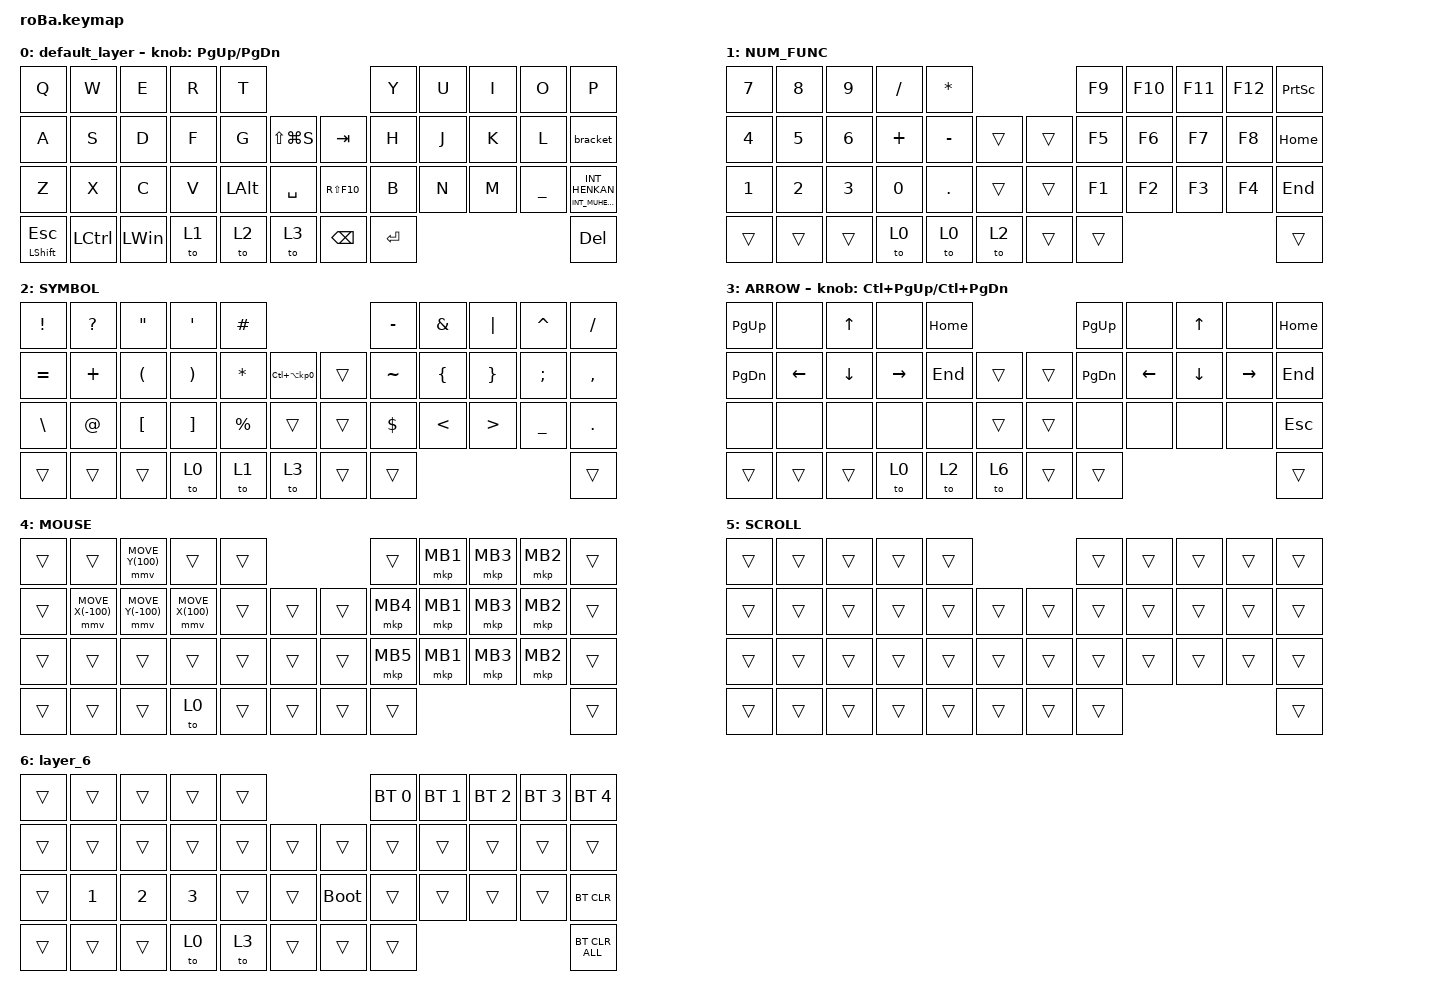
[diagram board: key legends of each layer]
#include <behaviors.dtsi>
#include <dt-bindings/zmk/bt.h>
#include <dt-bindings/zmk/keys.h>
#include <dt-bindings/zmk/pointing.h>

#define MOUSE 4
#define SCROLL 5
#define NUM 6

&mt {
    flavor = "balanced";
    quick-tap-ms = <0>;
};

/ {
    combos {
        compatible = "zmk,combos";

        tab {
            bindings = <&kp TAB>;
            key-positions = <11 12>;
        };

        shift_tab {
            bindings = <&kp LS(TAB)>;
            key-positions = <12 13>;
        };

        muhennkann {
            bindings = <&to_layer_0 INT_MUHENKAN>;
            key-positions = <11 10>;
        };

        double_quotation {
            bindings = <&kp DOUBLE_QUOTES>;
            key-positions = <20 21>;
        };

        eq {
            bindings = <&kp EQUAL>;
            key-positions = <24 25>;
        };
    };

    macros {
        to_layer_0: to_layer_0 {
            compatible = "zmk,behavior-macro-one-param";
            #binding-cells = <1>;
            bindings = <&to 0 &macro_param_1to1 &kp MACRO_PLACEHOLDER>;
            label = "TO_LAYER_0";
        };

        bracket: bracket {
            compatible = "zmk,behavior-macro";
            #binding-cells = <0>;
            bindings = <&kp LEFT_PARENTHESIS &kp RIGHT_PARENTHESIS &kp ENTER &kp LEFT_ARROW>;
            label = "BRACKET";
        };
    };

    behaviors {
        lt_to_layer_0: lt_to_layer_0 {
            compatible = "zmk,behavior-hold-tap";
            label = "LAYER_TAP_TO_0";
            bindings = <&mo>, <&to_layer_0>;

            #binding-cells = <2>;
            tapping-term-ms = <200>;
        };

        tk: tk {
            compatible = "zmk,behavior-hold-tap";
            label = "TK";
            bindings = <&to>, <&kp>;

            #binding-cells = <2>;
            tapping-term-ms = <200>;
        };
    };

    keymap {
        compatible = "zmk,keymap";

        default_layer {
            bindings = <
&kp Q               &kp W      &kp E         &kp R  &kp T                                           &kp Y      &kp U  &kp I  &kp O           &kp P
&kp A               &kp S      &kp D         &kp F  &kp G         &kp LS(LG(S))      &kp TAB        &kp H      &kp J  &kp K  &kp L           &bracket
&kp Z               &kp X      &kp C         &kp V  &kp LEFT_ALT  &kp SPACE          &kp RS(F10)    &kp B      &kp N  &kp M  &kp UNDERSCORE  &mt INT_MUHENKAN INT_HENKAN
&mt LEFT_SHIFT ESC  &kp LCTRL  &kp LEFT_WIN  &to 1  &to 2         &to 3              &kp BACKSPACE  &kp ENTER                                &kp DEL
            >;

            sensor-bindings = <&inc_dec_kp PG_UP PAGE_DOWN>;
        };

        NUM_FUNC {
            bindings = <
&kp NUMBER_7  &kp NUMBER_8  &kp NUMBER_9  &kp SLASH     &kp ASTERISK                      &kp F9  &kp F10  &kp F11  &kp F12  &kp PRINTSCREEN
&kp NUMBER_4  &kp NUMBER_5  &kp NUMBER_6  &kp PLUS      &kp MINUS     &trans      &trans  &kp F5  &kp F6   &kp F7   &kp F8   &kp HOME
&kp NUMBER_1  &kp NUMBER_2  &kp NUMBER_3  &kp NUMBER_0  &kp PERIOD    &trans      &trans  &kp F1  &kp F2   &kp F3   &kp F4   &kp END
&trans        &trans        &trans        &to 0         &to 0         &to 2       &trans  &trans                             &trans
            >;
        };

        SYMBOL {
            bindings = <
&kp EXCLAMATION  &kp QUESTION  &kp DOUBLE_QUOTES     &kp SINGLE_QUOTE       &kp HASH                                           &kp MINUS   &kp AMPERSAND   &kp PIPE          &kp CARET       &kp SLASH
&kp EQUAL        &kp PLUS      &kp LEFT_PARENTHESIS  &kp RIGHT_PARENTHESIS  &kp ASTERISK  &kp LC(LA(KP_NUMBER_0))      &trans  &kp TILDE   &kp LEFT_BRACE  &kp RIGHT_BRACE   &kp SEMICOLON   &kp COMMA
&kp BACKSLASH    &kp AT_SIGN   &kp LEFT_BRACKET      &kp RIGHT_BRACKET      &kp PERCENT   &trans                       &trans  &kp DOLLAR  &kp LESS_THAN   &kp GREATER_THAN  &kp UNDERSCORE  &kp PERIOD
&trans           &trans        &trans                &to 0                  &to 1         &to 3                        &trans  &trans                                                        &trans
            >;
        };

        ARROW {
            bindings = <
&kp PAGE_UP    &none           &kp UP_ARROW    &none            &kp HOME                      &kp PAGE_UP    &none           &kp UP_ARROW    &none            &kp HOME
&kp PAGE_DOWN  &kp LEFT_ARROW  &kp DOWN_ARROW  &kp RIGHT_ARROW  &kp END   &trans      &trans  &kp PAGE_DOWN  &kp LEFT_ARROW  &kp DOWN_ARROW  &kp RIGHT_ARROW  &kp END
&none          &none           &none           &none            &none     &trans      &trans  &none          &none           &none           &none            &kp ESCAPE
&trans         &trans          &trans          &to 0            &to 2     &to 6       &trans  &trans                                                          &trans
            >;

            sensor-bindings = <&inc_dec_kp LC(PAGE_UP) LC(PAGE_DOWN)>;
        };

        MOUSE {
            bindings = <
&trans  &trans             &mmv MOVE_Y(100)   &trans            &trans                      &trans    &mkp MB1  &mkp MB3  &mkp MB2  &trans
&trans  &mmv MOVE_X(-100)  &mmv MOVE_Y(-100)  &mmv MOVE_X(100)  &trans  &trans      &trans  &mkp MB4  &mkp MB1  &mkp MB3  &mkp MB2  &trans
&trans  &trans             &trans             &trans            &trans  &trans      &trans  &mkp MB5  &mkp MB1  &mkp MB3  &mkp MB2  &trans
&trans  &trans             &trans             &to 0             &trans  &trans      &trans  &trans                                  &trans
            >;
        };

        SCROLL {
            bindings = <
&trans  &trans  &trans  &trans  &trans                      &trans  &trans  &trans  &trans  &trans
&trans  &trans  &trans  &trans  &trans  &trans      &trans  &trans  &trans  &trans  &trans  &trans
&trans  &trans  &trans  &trans  &trans  &trans      &trans  &trans  &trans  &trans  &trans  &trans
&trans  &trans  &trans  &trans  &trans  &trans      &trans  &trans                          &trans
            >;
        };

        layer_6 {
            bindings = <
&trans  &trans        &trans        &trans        &trans                           &bt BT_SEL 0  &bt BT_SEL 1  &bt BT_SEL 2  &bt BT_SEL 3  &bt BT_SEL 4
&trans  &trans        &trans        &trans        &trans  &trans      &trans       &trans        &trans        &trans        &trans        &trans
&trans  &kp NUMBER_1  &kp NUMBER_2  &kp NUMBER_3  &trans  &trans      &bootloader  &trans        &trans        &trans        &trans        &bt BT_CLR
&trans  &trans        &trans        &to 0         &to 3   &trans      &trans       &trans                                                  &bt BT_CLR_ALL
            >;
        };
    };
};
